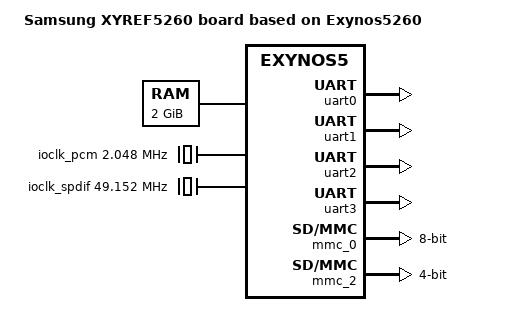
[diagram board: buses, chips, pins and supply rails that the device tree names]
// SPDX-License-Identifier: GPL-2.0
/*
 * Samsung XYREF5260 board device tree source
 *
 * Copyright (c) 2013 Samsung Electronics Co., Ltd.
 *		http://www.samsung.com
 */

/dts-v1/;
#include "exynos5260.dtsi"

/ {
	model = "Samsung XYREF5260 board based on Exynos5260";
	compatible = "samsung,xyref5260", "samsung,exynos5260", "samsung,exynos5";

	memory@20000000 {
		device_type = "memory";
		reg = <0x20000000 0x80000000>;
	};

	chosen {
		stdout-path = "serial2:115200n8";
	};

	fin_pll: xxti {
		compatible = "fixed-clock";
		clock-frequency = <24000000>;
		clock-output-names = "fin_pll";
		#clock-cells = <0>;
	};

	ioclk_pcm: clock-pcm-ext {
		compatible = "fixed-clock";
		clock-frequency = <2048000>;
		clock-output-names = "ioclk_pcm_extclk";
		#clock-cells = <0>;
	};

	ioclk_i2s: clock-i2s-cd {
		compatible = "fixed-clock";
		clock-frequency = <147456000>;
		clock-output-names = "ioclk_i2s_cdclk";
		#clock-cells = <0>;
	};

	ioclk_spdif: clock-spdif-ext {
		compatible = "fixed-clock";
		clock-frequency = <49152000>;
		clock-output-names = "ioclk_spdif_extclk";
		#clock-cells = <0>;
	};

	xrtcxti: xrtcxti {
		compatible = "fixed-clock";
		clock-frequency = <32768>;
		clock-output-names = "xrtcxti";
		#clock-cells = <0>;
	};
};

&pinctrl_0 {
	hdmi_hpd_irq: hdmi-hpd-irq-pins {
		samsung,pins = "gpx3-7";
		samsung,pin-function = <EXYNOS_PIN_FUNC_INPUT>;
		samsung,pin-pud = <EXYNOS_PIN_PULL_DOWN>;
		samsung,pin-drv = <EXYNOS5260_PIN_DRV_LV1>;
	};
};

&uart0 {
	status = "okay";
};

&uart1 {
	status = "okay";
};

&uart2 {
	status = "okay";
};

&uart3 {
	status = "okay";
};

&mmc_0 {
	status = "okay";
	broken-cd;
	cap-mmc-highspeed;
	mmc-hs200-1_8v;
	card-detect-delay = <200>;
	samsung,dw-mshc-ciu-div = <3>;
	samsung,dw-mshc-sdr-timing = <0 4>;
	samsung,dw-mshc-ddr-timing = <0 2>;
	pinctrl-names = "default";
	pinctrl-0 = <&sd0_rdqs &sd0_clk &sd0_cmd &sd0_bus1 &sd0_bus4 &sd0_bus8>;
	bus-width = <8>;
};

&mmc_2 {
	status = "okay";
	cap-sd-highspeed;
	card-detect-delay = <200>;
	samsung,dw-mshc-ciu-div = <3>;
	samsung,dw-mshc-sdr-timing = <2 3>;
	samsung,dw-mshc-ddr-timing = <1 2>;
	pinctrl-names = "default";
	pinctrl-0 = <&sd2_clk &sd2_cmd &sd2_cd &sd2_bus1 &sd2_bus4>;
	bus-width = <4>;
	disable-wp;
};
